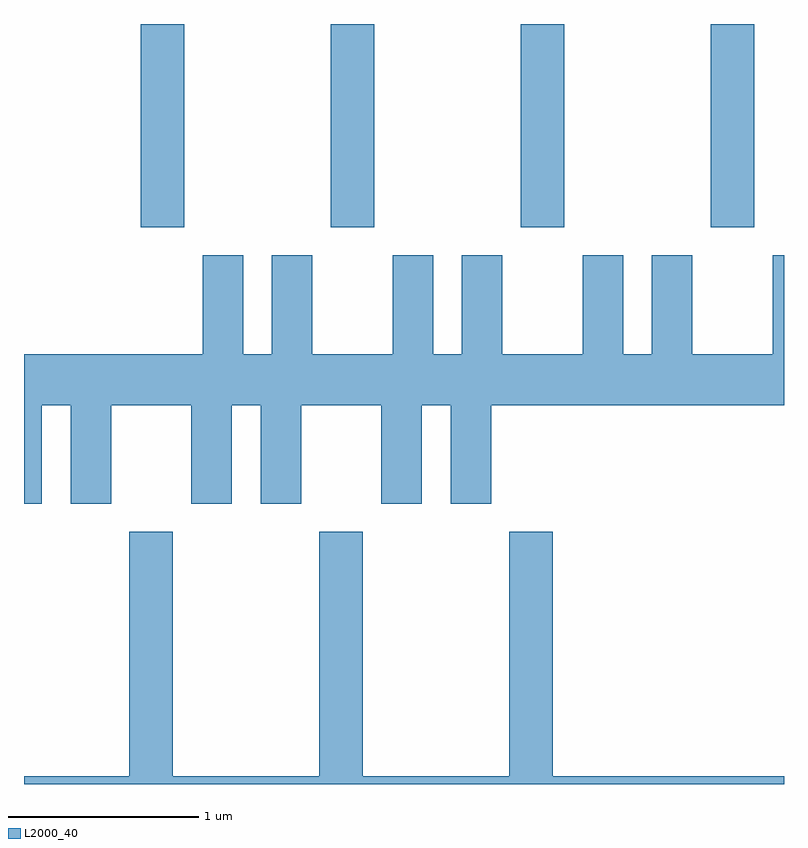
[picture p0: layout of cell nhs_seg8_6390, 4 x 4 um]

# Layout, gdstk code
import gdstk
lib = gdstk.Library(unit=1e-6, precision=1e-09)
def R(c, l, rs):  # rectangles x0, y0, x1, y1
    for r in rs: c.add(gdstk.rectangle(r[:2], r[2:], *l))
def A(c, l, x, y, w, h, nx, ny, dx, dy):  # array of equal rectangles
    R(c, l, [(x+i*dx, y+j*dy, x+i*dx+w, y+j*dy+h) for i in range(nx) for j in range(ny)])
def P(c, l, *ps):  # polygons
    for p in ps: c.add(gdstk.Polygon(p, *l))
L2000_40 = (2000, 40)

nhs_seg8_6390 = lib.new_cell('nhs_seg8_6390')
A(nhs_seg8_6390, L2000_40, 376.226, 1917.271, 0.228, 1.071, 4, 1, 1, 0)
P(nhs_seg8_6390, L2000_40, [(375.704,1916.336),(375.856,1916.336),(375.856,1915.816),(376.069,1915.816),(376.069,1916.336),(376.491,1916.336),(376.491,1915.816),(376.704,1915.816),(376.704,1916.336),(376.856,1916.336),(376.856,1915.816),(377.069,1915.816),(377.069,1916.336),(377.491,1916.336),(377.491,1915.816),(377.704,1915.816),(377.704,1916.336),(377.856,1916.336),(377.856,1915.816),(378.069,1915.816),(378.069,1916.336),(379.611,1916.336),(379.611,1917.124),(379.551,1917.124),(379.551,1916.604),(379.129,1916.604),(379.129,1917.124),(378.916,1917.124),(378.916,1916.604),(378.764,1916.604),(378.764,1917.124),(378.551,1917.124),(378.551,1916.604),(378.129,1916.604),(378.129,1917.124),(377.916,1917.124),(377.916,1916.604),(377.764,1916.604),(377.764,1917.124),(377.551,1917.124),(377.551,1916.604),(377.129,1916.604),(377.129,1917.124),(376.916,1917.124),(376.916,1916.604),(376.764,1916.604),(376.764,1917.124),(376.551,1917.124),(376.551,1916.604),(375.611,1916.604),(375.611,1915.816),(375.704,1915.816)],
  [(378.166,1915.669),(378.166,1914.384),(377.394,1914.384),(377.394,1915.669),(377.166,1915.669),(377.166,1914.384),(376.394,1914.384),(376.394,1915.669),(376.166,1915.669),(376.166,1914.384),(375.611,1914.384),(375.611,1914.342),(379.611,1914.342),(379.611,1914.384),(378.394,1914.384),(378.394,1915.669)])

lib.write_gds('nhs_seg8_6390.gds')
